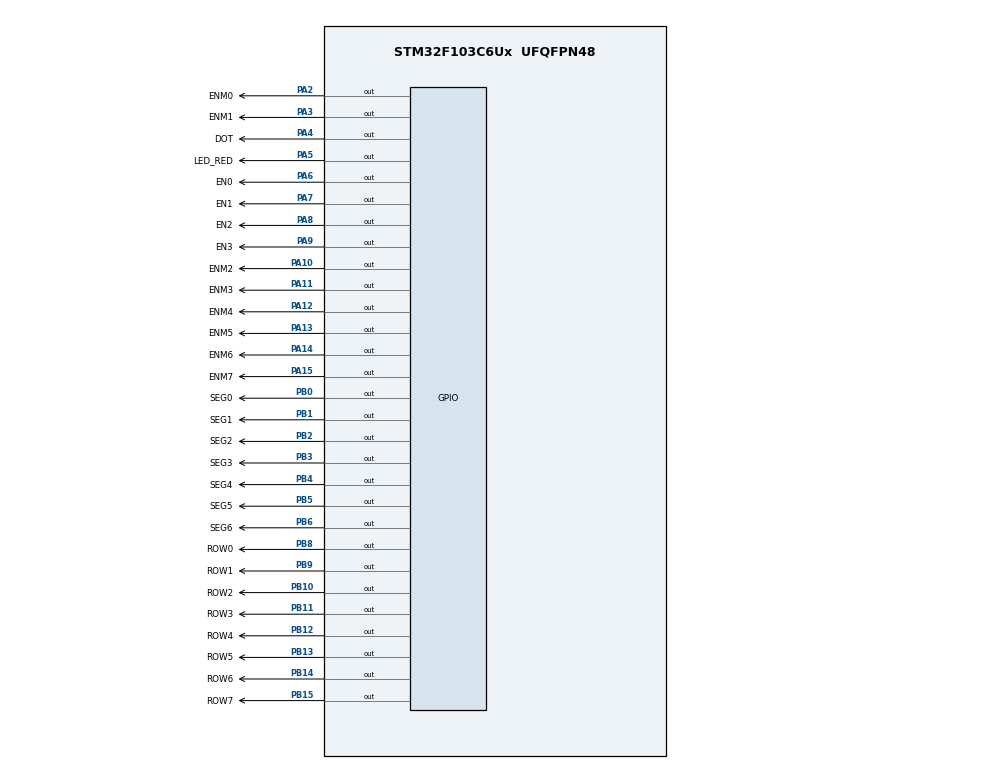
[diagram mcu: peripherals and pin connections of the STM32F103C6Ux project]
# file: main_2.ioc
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Mcu.Family=STM32F1
Mcu.Name=STM32F103C6Ux
Mcu.Package=UFQFPN48
NVIC.PriorityGroup=NVIC_PRIORITYGROUP_4
NVIC.TIM2_IRQn=true\:0\:0\:false\:false\:true\:true\:true
PA10.GPIO_Label=ENM2
PA10.Signal=GPIO_Output
PA11.GPIO_Label=ENM3
PA11.Signal=GPIO_Output
PA12.GPIO_Label=ENM4
PA12.Signal=GPIO_Output
PA13.GPIO_Label=ENM5
PA13.Signal=GPIO_Output
PA14.GPIO_Label=ENM6
PA14.Signal=GPIO_Output
PA15.GPIO_Label=ENM7
PA15.Signal=GPIO_Output
PA2.GPIO_Label=ENM0
PA2.Signal=GPIO_Output
PA3.GPIO_Label=ENM1
PA3.Signal=GPIO_Output
PA4.GPIO_Label=DOT
PA4.Signal=GPIO_Output
PA5.GPIO_Label=LED_RED
PA5.Signal=GPIO_Output
PA6.GPIO_Label=EN0
PA6.Signal=GPIO_Output
PA7.GPIO_Label=EN1
PA7.Signal=GPIO_Output
PA8.GPIO_Label=EN2
PA8.Signal=GPIO_Output
PA9.GPIO_Label=EN3
PA9.Signal=GPIO_Output
PB0.GPIO_Label=SEG0
PB0.Signal=GPIO_Output
PB1.GPIO_Label=SEG1
PB1.Signal=GPIO_Output
PB10.GPIO_Label=ROW2
PB10.Signal=GPIO_Output
PB11.GPIO_Label=ROW3
PB11.Signal=GPIO_Output
PB12.GPIO_Label=ROW4
PB12.Signal=GPIO_Output
PB13.GPIO_Label=ROW5
PB13.Signal=GPIO_Output
PB14.GPIO_Label=ROW6
PB14.Signal=GPIO_Output
PB15.GPIO_Label=ROW7
PB15.Signal=GPIO_Output
PB2.GPIO_Label=SEG2
PB2.Signal=GPIO_Output
PB3.GPIO_Label=SEG3
PB3.Signal=GPIO_Output
PB4.GPIO_Label=SEG4
PB4.Signal=GPIO_Output
PB5.GPIO_Label=SEG5
PB5.Signal=GPIO_Output
PB6.GPIO_Label=SEG6
PB6.Signal=GPIO_Output
PB8.GPIO_Label=ROW0
PB8.Signal=GPIO_Output
PB9.GPIO_Label=ROW1
PB9.Signal=GPIO_Output
ProjectManager.HeapSize=0x200
ProjectManager.StackSize=0x400
ProjectManager.TargetToolchain=STM32CubeIDE
RCC.APB1Freq_Value=8000000
RCC.APB2Freq_Value=8000000
TIM2.Period=9
TIM2.Prescaler=7999
VP_SYS_VS_ND.Mode=No_Debug
VP_TIM2_VS_ClockSourceINT.Mode=Internal
board=custom

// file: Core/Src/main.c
/* USER CODE BEGIN Header */
/**
  ****************************************************************************
  * @file           : main.c
  * @brief          : Main program body
  ****************************************************************************
  * @attention
  *
  * <h2><center>&copy; Copyright (c) 2025 STMicroelectronics.
  * All rights reserved.</center></h2>
  *
  * This software component is licensed by ST under BSD 3-Clause license,
  * the "License"; You may not use this file except in compliance with the
  * License. You may obtain a copy of the License at:
  *                        opensource.org/licenses/BSD-3-Clause
  *
  ****************************************************************************
  */
/* USER CODE END Header */
#include "main.h"

/* USER CODE BEGIN PD */
#define MAX_LED_MATRIX 8
/* USER CODE END PD */

TIM_HandleTypeDef htim2;

/* USER CODE BEGIN PV */
int hour = 8, minute = 56, second = 10;
/* USER CODE END PV */

void SystemClock_Config(void);
static void MX_GPIO_Init(void);
static void MX_TIM2_Init(void);

int main(void)
{

  /* MCU Configuration--------------------------------------------------------*/

  /* Reset of all peripherals, Initializes the Flash interface and the Systick. */
  HAL_Init();

  /* Configure the system clock */
  SystemClock_Config();

  /* Initialize all configured peripherals */
  MX_GPIO_Init();
  MX_TIM2_Init();
  /* USER CODE BEGIN 2 */
  HAL_TIM_Base_Start_IT(&htim2);

  updateClockBuffer(hour, minute);
  /* USER CODE END 2 */

  /* Infinite loop */
  /* USER CODE BEGIN WHILE */
  // Timer 0: Cập nhật đồng hồ (1000ms)
  setTimer(0, 1000);
  // Timer 1: Quét LED 7 đoạn (50ms)
  setTimer(1, 50);
  // Timer 2: Quét LED Matrix (20ms)
  setTimer(2, 20);
  // Timer 3: Animation (300ms)
  setTimer(3, 300);
  while (1)
  {
	 if (timer_flags[0] == 1) {
		  setTimer(0, 1000);

		  second++;
		  if (second >= 60) {
			  second = 0;
			  minute++;
		  }
		  if (minute >= 60) {
			  minute = 0;
			  hour++;
		  }
		  if (hour >= 24) {
			  hour = 0;
		  }
		  updateClockBuffer(hour, minute);   // cập nhật dữ liệu vào led_buffer

		  HAL_GPIO_TogglePin(GPIOA, GPIO_PIN_4); // led DOT
		  HAL_GPIO_TogglePin(GPIOA, GPIO_PIN_5); // led PA5
	  }

	  // Quét 7SEG
	  if (timer_flags[1] == 1) {
		  setTimer(1, 50);
		  update7SEG();
	  }

	  // LED MATRIX
		if (timer_flags[2] == 1){
			setTimer(2, 50);
			updateLEDMatrix();
		}

		// Animation cho LED matrix
	  if (timer_flags[3] == 1){
		  setTimer(3, 300);   // dịch trái mỗi 300ms
		  shiftLeft();
	  }
    /* USER CODE END WHILE */

  }
}

void SystemClock_Config(void)
{
  RCC_OscInitTypeDef RCC_OscInitStruct = {0};
  RCC_ClkInitTypeDef RCC_ClkInitStruct = {0};

  /** Initializes the RCC Oscillators according to the specified parameters
  * in the RCC_OscInitTypeDef structure.
  */
  RCC_OscInitStruct.OscillatorType = RCC_OSCILLATORTYPE_HSI;
  RCC_OscInitStruct.HSIState = RCC_HSI_ON;
  RCC_OscInitStruct.HSICalibrationValue = RCC_HSICALIBRATION_DEFAULT;
  RCC_OscInitStruct.PLL.PLLState = RCC_PLL_NONE;
  if (HAL_RCC_OscConfig(&RCC_OscInitStruct) != HAL_OK)
  {
    Error_Handler();
  }
  /** Initializes the CPU, AHB and APB buses clocks
  */
  RCC_ClkInitStruct.ClockType = RCC_CLOCKTYPE_HCLK|RCC_CLOCKTYPE_SYSCLK
                              |RCC_CLOCKTYPE_PCLK1|RCC_CLOCKTYPE_PCLK2;
  RCC_ClkInitStruct.SYSCLKSource = RCC_SYSCLKSOURCE_HSI;
  RCC_ClkInitStruct.AHBCLKDivider = RCC_SYSCLK_DIV1;
  RCC_ClkInitStruct.APB1CLKDivider = RCC_HCLK_DIV1;
  RCC_ClkInitStruct.APB2CLKDivider = RCC_HCLK_DIV1;

  if (HAL_RCC_ClockConfig(&RCC_ClkInitStruct, FLASH_LATENCY_0) != HAL_OK)
  {
    Error_Handler();
  }
}

static void MX_TIM2_Init(void)
{

  TIM_ClockConfigTypeDef sClockSourceConfig = {0};
  TIM_MasterConfigTypeDef sMasterConfig = {0};

  htim2.Instance = TIM2;
  htim2.Init.Prescaler = 7999;
  htim2.Init.CounterMode = TIM_COUNTERMODE_UP;
  htim2.Init.Period = 9;
  htim2.Init.ClockDivision = TIM_CLOCKDIVISION_DIV1;
  htim2.Init.AutoReloadPreload = TIM_AUTORELOAD_PRELOAD_DISABLE;
  if (HAL_TIM_Base_Init(&htim2) != HAL_OK)
  {
    Error_Handler();
  }
  sClockSourceConfig.ClockSource = TIM_CLOCKSOURCE_INTERNAL;
  if (HAL_TIM_ConfigClockSource(&htim2, &sClockSourceConfig) != HAL_OK)
  {
    Error_Handler();
  }
  sMasterConfig.MasterOutputTrigger = TIM_TRGO_RESET;
  sMasterConfig.MasterSlaveMode = TIM_MASTERSLAVEMODE_DISABLE;
  if (HAL_TIMEx_MasterConfigSynchronization(&htim2, &sMasterConfig) != HAL_OK)
  {
    Error_Handler();
  }

}

static void MX_GPIO_Init(void)
{
  GPIO_InitTypeDef GPIO_InitStruct = {0};

  /* GPIO Ports Clock Enable */
  __HAL_RCC_GPIOA_CLK_ENABLE();
  __HAL_RCC_GPIOB_CLK_ENABLE();

  /*Configure GPIO pin Output Level */
  HAL_GPIO_WritePin(GPIOA, ENM0_Pin|ENM1_Pin|DOT_Pin|LED_RED_Pin
                          |EN0_Pin|EN1_Pin|EN2_Pin|EN3_Pin
                          |ENM2_Pin|ENM3_Pin|ENM4_Pin|ENM5_Pin
                          |ENM6_Pin|ENM7_Pin, GPIO_PIN_RESET);

  /*Configure GPIO pin Output Level */
  HAL_GPIO_WritePin(GPIOB, SEG0_Pin|SEG1_Pin|SEG2_Pin|ROW2_Pin
                          |ROW3_Pin|ROW4_Pin|ROW5_Pin|ROW6_Pin
                          |ROW7_Pin|SEG3_Pin|SEG4_Pin|SEG5_Pin
                          |SEG6_Pin|ROW0_Pin|ROW1_Pin, GPIO_PIN_RESET);

  /*Configure GPIO pins : ENM0_Pin ENM1_Pin DOT_Pin LED_RED_Pin
                           EN0_Pin EN1_Pin EN2_Pin EN3_Pin
                           ENM2_Pin ENM3_Pin ENM4_Pin ENM5_Pin
                           ENM6_Pin ENM7_Pin */
  GPIO_InitStruct.Pin = ENM0_Pin|ENM1_Pin|DOT_Pin|LED_RED_Pin
                          |EN0_Pin|EN1_Pin|EN2_Pin|EN3_Pin
                          |ENM2_Pin|ENM3_Pin|ENM4_Pin|ENM5_Pin
                          |ENM6_Pin|ENM7_Pin;
  GPIO_InitStruct.Mode = GPIO_MODE_OUTPUT_PP;
  GPIO_InitStruct.Pull = GPIO_NOPULL;
  GPIO_InitStruct.Speed = GPIO_SPEED_FREQ_LOW;
  HAL_GPIO_Init(GPIOA, &GPIO_InitStruct);

  /*Configure GPIO pins : SEG0_Pin SEG1_Pin SEG2_Pin ROW2_Pin
                           ROW3_Pin ROW4_Pin ROW5_Pin ROW6_Pin
                           ROW7_Pin SEG3_Pin SEG4_Pin SEG5_Pin
                           SEG6_Pin ROW0_Pin ROW1_Pin */
  GPIO_InitStruct.Pin = SEG0_Pin|SEG1_Pin|SEG2_Pin|ROW2_Pin
                          |ROW3_Pin|ROW4_Pin|ROW5_Pin|ROW6_Pin
                          |ROW7_Pin|SEG3_Pin|SEG4_Pin|SEG5_Pin
                          |SEG6_Pin|ROW0_Pin|ROW1_Pin;
  GPIO_InitStruct.Mode = GPIO_MODE_OUTPUT_PP;
  GPIO_InitStruct.Pull = GPIO_NOPULL;
  GPIO_InitStruct.Speed = GPIO_SPEED_FREQ_LOW;
  HAL_GPIO_Init(GPIOB, &GPIO_InitStruct);

}

/* USER CODE BEGIN 4 */
void HAL_TIM_PeriodElapsedCallback(TIM_HandleTypeDef *htim) {
	if (htim->Instance == TIM2) {
		timer_run(); 						// software timer chạy mỗi 10ms
	}
}
/* USER CODE END 4 */

void Error_Handler(void)
{
  __disable_irq();
  while (1)
  {
  }
}

/************************ (C) COPYRIGHT STMicroelectronics *****END OF FILE****/
